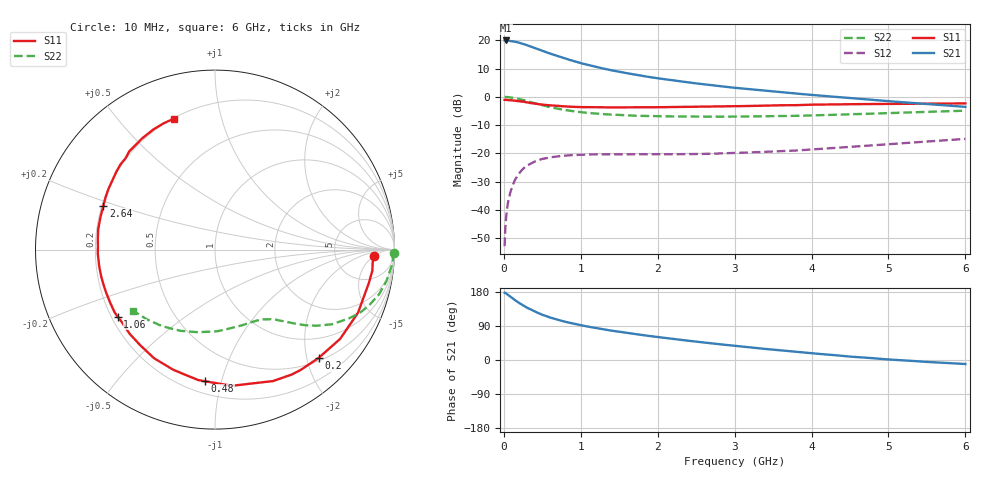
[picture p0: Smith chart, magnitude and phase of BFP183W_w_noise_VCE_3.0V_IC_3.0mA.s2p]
! (c) 2016  Infineon Technologies AG, Munich
! Infineon Technologies  Discrete & RF Semiconductors
! BFP183W
! VCE = 3.0 V,  IC =  3.0 mA
! Common Emitter S-Parameters:  Jan 2016
# GHz  S  MA  R  50
!  f  S11  S21  S12  S22
! GHz  MAG  ANG  MAG  ANG  MAG  ANG  MAG  ANG
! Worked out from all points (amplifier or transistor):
!   210 points, 10 MHz to 6 GHz, reference 50 ohm
!   highest |S21| = 19.9 dB at 30 MHz (marker M1)
!   |S21| within 3 dB of that: start of sweep to 435.3 MHz
!   unconditionally stable (mu >= 1): 2.13 GHz to end of sweep
!   at 185 MHz: K = 0.12, MSG = 23.4 dB, |S12| = -27.6 dB
!   at 1.52 GHz: K = 0.75, MSG = 14.5 dB, |S12| = -20.3 dB
!   at 6 GHz: K = 1.01, MAG = 5.1 dB, |S12| = -14.9 dB
!   lowest NFmin = 1.10 dB at 450 MHz
!   S11 on the Smith chart (normalised r, x): 10 MHz: 15, -5; 200 MHz: 0.56, -2.22; 480 MHz: 0.28, -0.89; 1.06 GHz: 0.23, -0.30; 2.64 GHz: 0.21, +0.18; 6 GHz: 0.20, +0.71
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0.01  0.884 -2.4  9.847 177.7  0.0023 89.4  0.9959 -1.1
0.02  0.8814 -4.8  9.876 177.0  0.005 87.1  0.9901 -2.1
0.03  0.8846 -7.5  9.899 175.6  0.0074 88.8  0.9927 -3.2
0.05  0.8773 -12.2  9.854 172.4  0.0126 83.9  0.9884 -5.3
0.1  0.871 -23.8  9.653 164.9  0.024 77.0  0.9713 -10.3
0.15  0.8565 -35.5  9.4 157.3  0.0352 70.3  0.9469 -15.3
0.2  0.8352 -46.3  9.029 150.4  0.0447 64.6  0.9147 -19.6
0.3  0.8005 -66.2  8.166 138.2  0.0607 55.1  0.8411 -27.0
0.4  0.7646 -82.9  7.305 128.1  0.0718 47.0  0.7714 -32.7
0.48  0.7356 -94.3  6.66 121.2  0.0783 41.9  0.7218 -35.8
0.6  0.7089 -109.1  5.817 112.2  0.0851 36.1  0.6576 -39.9
0.7  0.694 -119.3  5.251 106.1  0.089 32.5  0.6164 -42.2
0.82  0.6736 -129.6  4.641 99.8  0.092 28.9  0.578 -44.5
1.02  0.6578 -143.0  3.873 91.0  0.0949 24.7  0.5322 -47.9
1.06  0.6582 -145.4  3.756 89.5  0.0953 24.1  0.5254 -48.4
1.4  0.6514 -162.5  2.939 77.4  0.0968 20.5  0.4853 -53.2
2.02  0.6554 175.1  2.108 60.1  0.0967 20.1  0.454 -62.3
2.64  0.6685 158.6  1.638 45.3  0.0983 23.3  0.4466 -73.1
3.1  0.6857 148.2  1.403 35.4  0.1026 26.5  0.4484 -81.9
4.1  0.7282 129.6  1.055 16.1  0.1201 33.0  0.4726 -103.8
5.1  0.7529 116.3  0.818 0.2  0.1486 35.3  0.5217 -126.5
6  0.7648 107.5  0.665 -10.6  0.1806 34.4  0.5694 -143.3
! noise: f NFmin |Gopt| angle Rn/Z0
0.45  1.1  0.37  35  0.3
0.9  1.15  0.34  85  0.23
1.8  1.9  0.35  160  0.13
